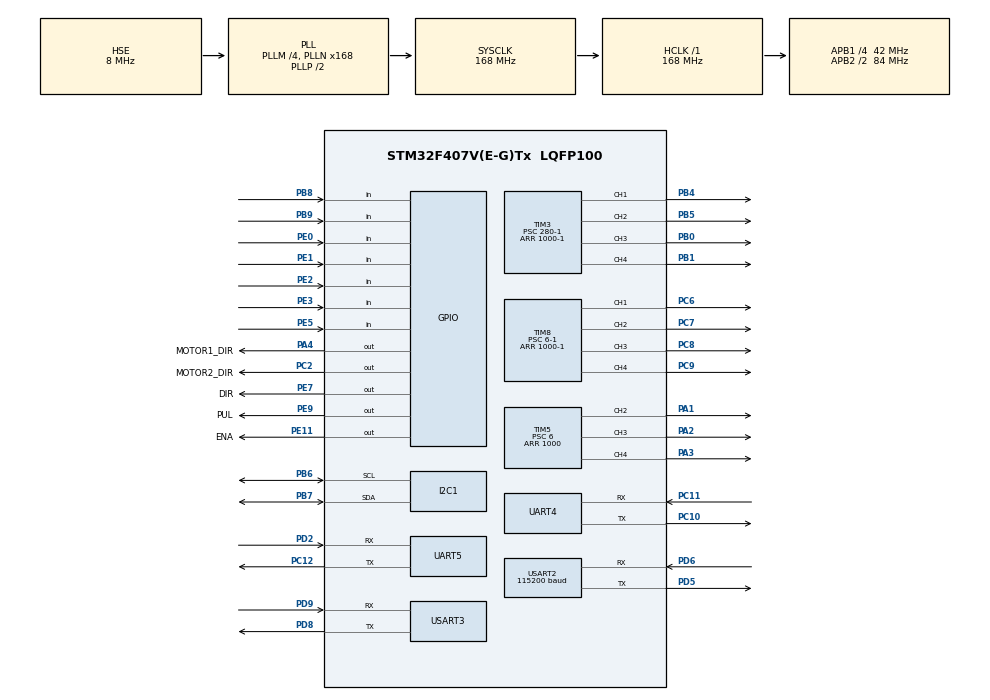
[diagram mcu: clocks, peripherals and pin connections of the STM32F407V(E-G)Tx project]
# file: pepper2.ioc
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Dma.Request0=UART4_RX
Dma.Request1=UART5_RX
Dma.Request2=USART3_RX
Dma.UART4_RX.0.Direction=DMA_PERIPH_TO_MEMORY
Dma.UART4_RX.0.FIFOMode=DMA_FIFOMODE_DISABLE
Dma.UART4_RX.0.Instance=DMA1_Stream2
Dma.UART4_RX.0.MemDataAlignment=DMA_MDATAALIGN_BYTE
Dma.UART4_RX.0.MemInc=DMA_MINC_ENABLE
Dma.UART4_RX.0.Mode=DMA_NORMAL
Dma.UART4_RX.0.PeriphDataAlignment=DMA_PDATAALIGN_BYTE
Dma.UART4_RX.0.PeriphInc=DMA_PINC_DISABLE
Dma.UART4_RX.0.Priority=DMA_PRIORITY_LOW
Dma.UART5_RX.1.Direction=DMA_PERIPH_TO_MEMORY
Dma.UART5_RX.1.FIFOMode=DMA_FIFOMODE_DISABLE
Dma.UART5_RX.1.Instance=DMA1_Stream0
Dma.UART5_RX.1.MemDataAlignment=DMA_MDATAALIGN_BYTE
Dma.UART5_RX.1.MemInc=DMA_MINC_ENABLE
Dma.UART5_RX.1.Mode=DMA_NORMAL
Dma.UART5_RX.1.PeriphDataAlignment=DMA_PDATAALIGN_BYTE
Dma.UART5_RX.1.PeriphInc=DMA_PINC_DISABLE
Dma.UART5_RX.1.Priority=DMA_PRIORITY_MEDIUM
Dma.USART3_RX.2.Direction=DMA_PERIPH_TO_MEMORY
Dma.USART3_RX.2.FIFOMode=DMA_FIFOMODE_DISABLE
Dma.USART3_RX.2.Instance=DMA1_Stream1
Dma.USART3_RX.2.MemDataAlignment=DMA_MDATAALIGN_BYTE
Dma.USART3_RX.2.MemInc=DMA_MINC_ENABLE
Dma.USART3_RX.2.Mode=DMA_NORMAL
Dma.USART3_RX.2.PeriphDataAlignment=DMA_PDATAALIGN_BYTE
Dma.USART3_RX.2.PeriphInc=DMA_PINC_DISABLE
Dma.USART3_RX.2.Priority=DMA_PRIORITY_MEDIUM
I2C1.I2C_Mode=I2C_Fast
Mcu.Family=STM32F4
Mcu.Name=STM32F407V(E-G)Tx
Mcu.Package=LQFP100
NVIC.DMA1_Stream0_IRQn=true\:0\:0\:false\:false\:true\:false\:true\:true
NVIC.DMA1_Stream1_IRQn=true\:0\:0\:false\:false\:true\:false\:true\:true
NVIC.DMA1_Stream2_IRQn=true\:0\:0\:false\:false\:true\:false\:true\:true
NVIC.PriorityGroup=NVIC_PRIORITYGROUP_4
NVIC.TIM7_IRQn=true\:0\:0\:false\:false\:true\:true\:true\:true
NVIC.UART4_IRQn=true\:0\:0\:false\:false\:true\:true\:true\:true
NVIC.UART5_IRQn=true\:0\:0\:false\:false\:true\:true\:true\:true
NVIC.USART2_IRQn=true\:0\:0\:false\:false\:true\:true\:true\:true
NVIC.USART3_IRQn=true\:0\:0\:false\:false\:true\:true\:true\:true
PA1.Signal=S_TIM5_CH2
PA13.Mode=Serial_Wire
PA13.Signal=SYS_JTMS-SWDIO
PA14.Mode=Serial_Wire
PA14.Signal=SYS_JTCK-SWCLK
PA2.Signal=S_TIM5_CH3
PA3.Signal=S_TIM5_CH4
PA4.GPIO_Label=MOTOR1_DIR
PA4.GPIO_ModeDefaultOutputPP=GPIO_MODE_OUTPUT_OD
PA4.GPIO_PuPd=GPIO_NOPULL
PA4.Signal=GPIO_Output
PB0.Signal=S_TIM3_CH3
PB1.Signal=S_TIM3_CH4
PB4.Signal=S_TIM3_CH1
PB5.Signal=S_TIM3_CH2
PB6.Mode=I2C
PB6.Signal=I2C1_SCL
PB7.Mode=I2C
PB7.Signal=I2C1_SDA
PB8.GPIO_PuPd=GPIO_PULLUP
PB8.Signal=GPIO_Input
PB9.GPIO_PuPd=GPIO_PULLUP
PB9.Signal=GPIO_Input
PC10.Mode=Asynchronous
PC10.Signal=UART4_TX
PC11.Mode=Asynchronous
PC11.Signal=UART4_RX
PC12.Mode=Asynchronous
PC12.Signal=UART5_TX
PC2.GPIO_Label=MOTOR2_DIR
PC2.GPIO_ModeDefaultOutputPP=GPIO_MODE_OUTPUT_OD
PC2.GPIO_PuPd=GPIO_NOPULL
PC2.Signal=GPIO_Output
PC6.Signal=S_TIM8_CH1
PC7.Signal=S_TIM8_CH2
PC8.Signal=S_TIM8_CH3
PC9.Signal=S_TIM8_CH4
PD2.Mode=Asynchronous
PD2.Signal=UART5_RX
PD5.Mode=Asynchronous
PD5.Signal=USART2_TX
PD6.Mode=Asynchronous
PD6.Signal=USART2_RX
PD8.Mode=Asynchronous
PD8.Signal=USART3_TX
PD9.Mode=Asynchronous
PD9.Signal=USART3_RX
PE0.GPIO_PuPd=GPIO_PULLUP
PE0.Signal=GPIO_Input
PE1.GPIO_PuPd=GPIO_PULLUP
PE1.Signal=GPIO_Input
PE11.GPIO_Label=ENA
PE11.PinState=GPIO_PIN_RESET
PE11.Signal=GPIO_Output
PE2.GPIO_PuPd=GPIO_PULLUP
PE2.Signal=GPIO_Input
PE3.GPIO_PuPd=GPIO_PULLUP
PE3.Signal=GPIO_Input
PE5.GPIO_PuPd=GPIO_PULLUP
PE5.Signal=GPIO_Input
PE7.GPIO_Label=DIR
PE7.Signal=GPIO_Output
PE9.GPIO_Label=PUL
PE9.Signal=GPIO_Output
PH0-OSC_IN.Mode=HSE-External-Oscillator
PH0-OSC_IN.Signal=RCC_OSC_IN
PH1-OSC_OUT.Mode=HSE-External-Oscillator
PH1-OSC_OUT.Signal=RCC_OSC_OUT
ProjectManager.HeapSize=0x200
ProjectManager.StackSize=0x400
ProjectManager.TargetToolchain=MDK-ARM V5.32
RCC.48MHZClocksFreq_Value=84000000
RCC.AHBFreq_Value=168000000
RCC.APB1CLKDivider=RCC_HCLK_DIV4
RCC.APB1Freq_Value=42000000
RCC.APB1TimFreq_Value=84000000
RCC.APB2CLKDivider=RCC_HCLK_DIV2
RCC.APB2Freq_Value=84000000
RCC.APB2TimFreq_Value=168000000
RCC.CortexFreq_Value=168000000
RCC.HCLKFreq_Value=168000000
RCC.HSE_VALUE=8000000
RCC.HSI_VALUE=16000000
RCC.LSE_VALUE=32768
RCC.PLLM=4
RCC.PLLN=168
RCC.PLLSourceVirtual=RCC_PLLSOURCE_HSE
RCC.SYSCLKFreq_VALUE=168000000
RCC.SYSCLKSource=RCC_SYSCLKSOURCE_PLLCLK
RCC.VCOOutputFreq_Value=336000000
SH.S_TIM3_CH1.0=TIM3_CH1,PWM Generation1 CH1
SH.S_TIM3_CH2.0=TIM3_CH2,PWM Generation2 CH2
SH.S_TIM3_CH3.0=TIM3_CH3,PWM Generation3 CH3
SH.S_TIM3_CH4.0=TIM3_CH4,PWM Generation4 CH4
SH.S_TIM5_CH2.0=TIM5_CH2,PWM Generation2 CH2
SH.S_TIM5_CH3.0=TIM5_CH3,PWM Generation3 CH3
SH.S_TIM5_CH4.0=TIM5_CH4,PWM Generation4 CH4
SH.S_TIM8_CH1.0=TIM8_CH1,PWM Generation1 CH1
SH.S_TIM8_CH2.0=TIM8_CH2,PWM Generation2 CH2
SH.S_TIM8_CH3.0=TIM8_CH3,PWM Generation3 CH3
SH.S_TIM8_CH4.0=TIM8_CH4,PWM Generation4 CH4
TIM3.Channel-PWM\ Generation1\ CH1=TIM_CHANNEL_1
TIM3.Channel-PWM\ Generation2\ CH2=TIM_CHANNEL_2
TIM3.Channel-PWM\ Generation3\ CH3=TIM_CHANNEL_3
TIM3.Channel-PWM\ Generation4\ CH4=TIM_CHANNEL_4
TIM3.Period=1000-1
TIM3.Prescaler=280-1
TIM5.Channel-PWM\ Generation2\ CH2=TIM_CHANNEL_2
TIM5.Channel-PWM\ Generation3\ CH3=TIM_CHANNEL_3
TIM5.Channel-PWM\ Generation4\ CH4=TIM_CHANNEL_4
TIM5.Period=1000
TIM5.Prescaler=6
TIM7.Period=2000-1
TIM7.Prescaler=840-1
TIM8.Channel-PWM\ Generation1\ CH1=TIM_CHANNEL_1
TIM8.Channel-PWM\ Generation2\ CH2=TIM_CHANNEL_2
TIM8.Channel-PWM\ Generation3\ CH3=TIM_CHANNEL_3
TIM8.Channel-PWM\ Generation4\ CH4=TIM_CHANNEL_4
TIM8.Period=1000-1
TIM8.Prescaler=6-1
UART4.VirtualMode=Asynchronous
UART5.VirtualMode=Asynchronous
USART2.BaudRate=115200
USART2.VirtualMode=VM_ASYNC
USART3.VirtualMode=VM_ASYNC
VP_TIM3_VS_ClockSourceINT.Mode=Internal
VP_TIM5_VS_ClockSourceINT.Mode=Internal
VP_TIM7_VS_ClockSourceINT.Mode=Enable_Timer
VP_TIM8_VS_ClockSourceINT.Mode=Internal
board=custom

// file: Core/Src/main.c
/* USER CODE BEGIN Header */
/**
  ******************************************************************************
  * @file           : main.c
  * @brief          : Main program body
  ******************************************************************************
  * @attention
  *
  * Copyright (c) 2024 STMicroelectronics.
  * All rights reserved.
  *
  * This software is licensed under terms that can be found in the LICENSE file
  * in the root directory of this software component.
  * If no LICENSE file comes with this software, it is provided AS-IS.
  *
  ******************************************************************************
  */
/* USER CODE END Header */
#include "main.h"
#include "dma.h"
#include "i2c.h"
#include "tim.h"
#include "usart.h"
#include "gpio.h"

/* USER CODE BEGIN Includes */
#include "usart.h"
#include "stdio.h"
#include "tofsense.h"
#include "oled.h"
#include "menu.h"
#include "font.h"
#include "motor.h"
#include "cameracom.h"
/* USER CODE END Includes */

/* USER CODE BEGIN PTD */
struct page p0, p1, p2, p3, p4, p5, p6, p7, p8, p9, p10, p11, p12, p13, p14;
float test1 = 0, test2 = 1, test3 = 2;
int16_t test4 = 3, test5 = 4, test6 = 5;

uint8_t wireless_test_in_flag=0;
uint8_t y_pid_test_flag=0;

void menu_init(void);
void menu_func_test(void);
void tof_test(void);
void pwm_test(void);
void spd_test(void);
void angle_confirm(void);
void wireless_test(void);
void strech_test(void);
void execute(void);
void y_pid_test(void);
/* USER CODE END PTD */

/* USER CODE BEGIN PD */
#define UART4_RECVBUFLEN 10 //数组长度上限
uint8_t Uart4RecvBuf[UART4_RECVBUFLEN]={0}; //DMA缓冲区数组
uint8_t Uart4RecvCnt = 0; //DMA实际接收长度（数据包或长或短，有个实际长度）
uint8_t Uart4RecvCompleteFlag = 0; //接收完毕标志位
uint8_t Uart4RecvData[UART4_RECVBUFLEN]={0}; //实际接收数据的数组（从Uart4RecvBuf也就是缓冲区数组中转移出来）
uint8_t Uart4RecvDataLen = 0; //实际接收数据的数组接收数据的长度，和Uart4RecvCnt相同的其实

extern void Uart4RecvInit(void);
extern void Uart4Recv_IdleCallback(void);
int Uart4Recv_DealData(uint8_t *recvData, uint8_t *len);

extern uint16_t tim7_counter;
extern uint8_t coordinate_recv_cnt;
extern uint16_t alighment_cnt;
extern uint8_t strech_length;
extern uint8_t strech_retry_time;
extern uint8_t strech_ok_time;
extern uint8_t strech_wait_flag;
extern uint8_t strech_goback_flag;
extern uint8_t shear_ok_time;
extern uint8_t atLeastOneCut_flag;
extern uint16_t clock_cnt;
extern uint16_t clock_wait_cnt;
extern uint8_t perform_flex_flag;
/* USER CODE END PD */

void SystemClock_Config(void);

int main(void)
{

  /* MCU Configuration--------------------------------------------------------*/

  /* Reset of all peripherals, Initializes the Flash interface and the Systick. */
  HAL_Init();

  /* Configure the system clock */
  SystemClock_Config();

  /* Initialize all configured peripherals */
  MX_GPIO_Init();
  MX_DMA_Init();
  MX_USART2_UART_Init();
  MX_I2C1_Init();
  MX_TIM7_Init();
  MX_TIM5_Init();
  MX_UART4_Init();
  MX_TIM3_Init();
  MX_TIM8_Init();
  MX_UART5_Init();
  MX_USART3_UART_Init();
  /* USER CODE BEGIN 2 */
  /**********初始化电机**********/
  HAL_TIM_PWM_Start(&htim5, TIM_CHANNEL_2);
  HAL_TIM_PWM_Start(&htim5, TIM_CHANNEL_3);
  HAL_TIM_PWM_Start(&htim5, TIM_CHANNEL_4);
  __HAL_TIM_SET_COMPARE(&htim5, TIM_CHANNEL_2, 0);
  __HAL_TIM_SET_COMPARE(&htim5, TIM_CHANNEL_3, 0);
  __HAL_TIM_SET_COMPARE(&htim5, TIM_CHANNEL_4, 0);
  /**********初始化电机**********/

  /**********系统启动**********/
  //初始化OLED
  oled_init();
  oled_clear();
  //printf("SystemWakeUp!\n");
  global_state=NORMAL_STATE; //初始化状态机
  HAL_UART_Transmit(&huart4, (uint8_t *)"SystemWakeUp!\n", 18,1000);
  Uart4RecvInit();
  oled_show_string(0,0,(const uint8_t *)"SystemWakeUp!");
  /**********初始化无线**********/
  HAL_UART_Transmit(&huart5, (uint8_t *)"WirelessOK!\n", 12, 1000);
  Uart5RecvInit();
  oled_show_string(0,1,(const uint8_t *)"WirelessOK!");
  /**********初始化无线**********/

  /**********初始化摄像头串口**********/
  Uart3RecvInit();
  oled_show_string(0,2,(const uint8_t *)"Openmv(Uart3)OK!");
  /**********初始化摄像头串口**********/

  /**********初始化舵机**********/
  height_data_init();
  spd_pid_init();
  HAL_TIM_PWM_Start(&htim3, TIM_CHANNEL_1);
  HAL_TIM_PWM_Start(&htim3, TIM_CHANNEL_2);
  HAL_TIM_PWM_Start(&htim3, TIM_CHANNEL_3);
  HAL_TIM_PWM_Start(&htim3, TIM_CHANNEL_4);
  HAL_TIM_PWM_Start(&htim8, TIM_CHANNEL_1);
  HAL_TIM_PWM_Start(&htim8, TIM_CHANNEL_2);
  HAL_TIM_PWM_Start(&htim8, TIM_CHANNEL_3);
  HAL_TIM_PWM_Start(&htim8, TIM_CHANNEL_4);
  __HAL_TIM_SET_COMPARE(&htim3, TIM_CHANNEL_1, servo_angle3);
  __HAL_TIM_SET_COMPARE(&htim3, TIM_CHANNEL_2, servo_angle4);
  __HAL_TIM_SET_COMPARE(&htim3, TIM_CHANNEL_3, servo_angle1);
  __HAL_TIM_SET_COMPARE(&htim3, TIM_CHANNEL_4, servo_angle2);
  // __HAL_TIM_SET_COMPARE(&htim8, TIM_CHANNEL_1, servo_angle7);
  // __HAL_TIM_SET_COMPARE(&htim8, TIM_CHANNEL_2, servo_angle8);
  // __HAL_TIM_SET_COMPARE(&htim8, TIM_CHANNEL_3, servo_angle5);
  // __HAL_TIM_SET_COMPARE(&htim8, TIM_CHANNEL_4, servo_angle6);
  __HAL_TIM_SET_COMPARE(&htim8, TIM_CHANNEL_1, 0);
  __HAL_TIM_SET_COMPARE(&htim8, TIM_CHANNEL_2, 0);
  __HAL_TIM_SET_COMPARE(&htim8, TIM_CHANNEL_3, 0);
  __HAL_TIM_SET_COMPARE(&htim8, TIM_CHANNEL_4, 0);
  oled_show_string(0,3,(const uint8_t *)"All Servos Ready!");
  start_recv_coorData(1);
  oled_show_string(0,4,(const uint8_t *)"Send action Data!");
  oled_show_string(0,5,(const uint8_t *)"Testing Grab Servo!");
  grab_servo_control(1);
  HAL_Delay(1000);
  grab_servo_control(0);
  HAL_Delay(1000);
  grab_servo_control(1);
  /**********初始化舵机**********/

  /**********初始化TOF**********/
  tof_init();
  oled_show_string(0,6,(const uint8_t *)"TOF OK!");
  HAL_Delay(300);
  /**********初始化TOF**********/

  /**********初始化菜单**********/
  oled_clear();
  menu_init();
  /**********初始化菜单**********/

  /* USER CODE END 2 */

  /* Infinite loop */
  while (1)
  {

    /* USER CODE BEGIN 3 */

    if(Uart4Recv_DealData(Uart4RecvData,&Uart4RecvDataLen)==0){
      //真正处理数据的区域
    //   Uart4RecvData[Uart4RecvDataLen]='\0';
    //   printf("%s\r\n",Uart4RecvData);
    }

		MenuCmd(key_scan());
    if (navigate[cntpage]->dymantic_page)
    {
      MenuRender(0);
      HAL_Delay(100);
    }
    HAL_Delay(5);
  }
  /* USER CODE END 3 */
}

void SystemClock_Config(void)
{
  RCC_OscInitTypeDef RCC_OscInitStruct = {0};
  RCC_ClkInitTypeDef RCC_ClkInitStruct = {0};

  /** Configure the main internal regulator output voltage
  */
  __HAL_RCC_PWR_CLK_ENABLE();
  __HAL_PWR_VOLTAGESCALING_CONFIG(PWR_REGULATOR_VOLTAGE_SCALE1);

  /** Initializes the RCC Oscillators according to the specified parameters
  * in the RCC_OscInitTypeDef structure.
  */
  RCC_OscInitStruct.OscillatorType = RCC_OSCILLATORTYPE_HSE;
  RCC_OscInitStruct.HSEState = RCC_HSE_ON;
  RCC_OscInitStruct.PLL.PLLState = RCC_PLL_ON;
  RCC_OscInitStruct.PLL.PLLSource = RCC_PLLSOURCE_HSE;
  RCC_OscInitStruct.PLL.PLLM = 4;
  RCC_OscInitStruct.PLL.PLLN = 168;
  RCC_OscInitStruct.PLL.PLLP = RCC_PLLP_DIV2;
  RCC_OscInitStruct.PLL.PLLQ = 4;
  if (HAL_RCC_OscConfig(&RCC_OscInitStruct) != HAL_OK)
  {
    Error_Handler();
  }

  /** Initializes the CPU, AHB and APB buses clocks
  */
  RCC_ClkInitStruct.ClockType = RCC_CLOCKTYPE_HCLK|RCC_CLOCKTYPE_SYSCLK
                              |RCC_CLOCKTYPE_PCLK1|RCC_CLOCKTYPE_PCLK2;
  RCC_ClkInitStruct.SYSCLKSource = RCC_SYSCLKSOURCE_PLLCLK;
  RCC_ClkInitStruct.AHBCLKDivider = RCC_SYSCLK_DIV1;
  RCC_ClkInitStruct.APB1CLKDivider = RCC_HCLK_DIV4;
  RCC_ClkInitStruct.APB2CLKDivider = RCC_HCLK_DIV2;

  if (HAL_RCC_ClockConfig(&RCC_ClkInitStruct, FLASH_LATENCY_5) != HAL_OK)
  {
    Error_Handler();
  }
}

/* USER CODE BEGIN 4 */
void execute(void)
{
  oled_clear();
  oled_show_string(0, 0, "execute()");
  char tmp_str[25]={0};
  tim7_counter=0;

  global_state=STROLL_STATE;
  //global_state=SPREAD_STATE;
  HAL_TIM_Base_Start_IT(&htim7);
  start_recv_coorData(1);

  while (1)
  {
    oled_clear();
    if(global_state==STROLL_STATE){
      oled_show_string(0, 0, "state: STROLL_STATE");

      sprintf(tmp_str,"stroll_dir:%d",stroll_dir);
      oled_show_string(0, 1, tmp_str);

      sprintf(tmp_str,"co_recv_cnt:%d",coordinate_recv_cnt);
      oled_show_string(0, 2, tmp_str);

    }else if(global_state==LOCATE_STATE){
      oled_show_string(0, 0, "state: LOCATE_STATE");

      sprintf(tmp_str,"H_a:%.2f",H_a);
      oled_show_string(0, 1, tmp_str);

      sprintf(tmp_str,"y:%d",y_pepper);
      oled_show_string(0, 2, tmp_str);

      sprintf(tmp_str,"whlx_pwm:%d",pwm1);
      oled_show_string(0, 3, tmp_str);

      sprintf(tmp_str,"err_y:%d",whly.now_error);
      oled_show_string(0, 4, tmp_str);

      sprintf(tmp_str,"alighment_cnt:%d",alighment_cnt);
      oled_show_string(0, 5, tmp_str);

      sprintf(tmp_str,"alighment_cnt_h:%d",h_aligntment_cnt);
      oled_show_string(0, 6, tmp_str);

      sprintf(tmp_str,"simu_tarh:%d",simu_tarh);
      oled_show_string(0, 7, tmp_str);
    }else if(global_state==SPREAD_STATE){
#ifdef PERFORMANCE_MODE
      oled_show_string(0, 0, "state: SPREAD_STATE");

      sprintf(tmp_str,"cur_pulcnt:%d",cur_motor_pul_cnt);
      oled_show_string(0, 1, tmp_str);
#else
      oled_show_string(0, 0, "state: SPREAD_STATE");

      sprintf(tmp_str,"cur_pulcnt:%d",cur_motor_pul_cnt);
      oled_show_string(0, 1, tmp_str);

      sprintf(tmp_str,"retry_time:%d",strech_retry_time);
      oled_show_string(0, 2, tmp_str);

      sprintf(tmp_str,"ok_time:%d",strech_ok_time);
      oled_show_string(0, 3, tmp_str);

      sprintf(tmp_str,"wait_flag:%d",strech_wait_flag);
      oled_show_string(0, 4, tmp_str);

      sprintf(tmp_str,"goback_flag:%d",strech_goback_flag);
      oled_show_string(0, 5, tmp_str);

      sprintf(tmp_str,"tim7_counter:%d",tim7_counter);
      oled_show_string(0, 6, tmp_str);

      sprintf(tmp_str,"tar_pulcnt:%d",tar_motor_pul_cnt);
      oled_show_string(0, 7, tmp_str);
#endif
    }else if(global_state==SHEAR_STATE){
      oled_show_string(0, 0, "state: SHEAR_STATE");

      sprintf(tmp_str,"shear_ok_time:%d",shear_ok_time);
      oled_show_string(0, 1, tmp_str);

      sprintf(tmp_str,"tim7_counter:%d",tim7_counter);
      oled_show_string(0, 2, tmp_str);

      sprintf(tmp_str,"co_recv_cnt:%d",coordinate_recv_cnt);
      oled_show_string(0, 3, tmp_str);
    }else if(global_state==SHRINK_STATE){
      oled_show_string(0, 0, "state: SHRINK_STATE");

      // sprintf(tmp_str,"shear_ok_time:%d",shear_ok_time);
      // oled_show_string(0, 1, tmp_str);
      sprintf(tmp_str,"co_recv_cnt:%d",coordinate_recv_cnt);
      oled_show_string(0, 1, tmp_str);

      sprintf(tmp_str,"tim7_counter:%d",tim7_counter);
      oled_show_string(0, 2, tmp_str);
    }

    if (HAL_GPIO_ReadPin(GPIOE, GPIO_PIN_3) == GPIO_PIN_RESET)
    {
      //设备上移
      set_motor_pwm(2,800);
      oled_show_string(0, 2, "motor dwn");
    }else if (HAL_GPIO_ReadPin(GPIOB, GPIO_PIN_8) == GPIO_PIN_RESET)
    {
      //设备下移
      set_motor_pwm(2,-800);
      oled_show_string(0, 2, "motor upn");
    }else if (HAL_GPIO_ReadPin(GPIOE, GPIO_PIN_1) == GPIO_PIN_RESET)
    {
      //设备左移
      set_motor_pwm(1,-700);
      oled_show_string(0, 2, "motor lef");
    }else if (HAL_GPIO_ReadPin(GPIOB, GPIO_PIN_9) == GPIO_PIN_RESET)
    {
      //设备右移
      set_motor_pwm(1,700);
      oled_show_string(0, 2, "motor rgh");
    }else{
      set_motor_pwm(1,0);
      set_motor_pwm(2,0);
      //oled_show_string(0, 2, "motor none");
    }

    if (HAL_GPIO_ReadPin(GPIOE, GPIO_PIN_0) == GPIO_PIN_RESET)
    {
      HAL_Delay(KEY_DelayTime);
      if (HAL_GPIO_ReadPin(GPIOE, GPIO_PIN_0) == GPIO_PIN_RESET){
        tim7_counter=0;
        cut_servo_control(0);
        atLeastOneCut_flag=0;
        global_state=SHRINK_STATE;
      }
    }

    HAL_Delay(10);
    if (HAL_GPIO_ReadPin(GPIOE, GPIO_PIN_5) == GPIO_PIN_RESET)
    {
      HAL_Delay(KEY_DelayTime);
      if (HAL_GPIO_ReadPin(GPIOE, GPIO_PIN_5) == GPIO_PIN_RESET)
      {
        HAL_TIM_Base_Stop_IT(&htim7);
        //停止所有电机，复位所有舵机
        set_motor_pwm(1,0);
        set_motor_pwm(2,0);
        __HAL_TIM_SET_COMPARE(&htim3, TIM_CHANNEL_1, servo_angle3);
        __HAL_TIM_SET_COMPARE(&htim3, TIM_CHANNEL_2, servo_angle4);
        __HAL_TIM_SET_COMPARE(&htim3, TIM_CHANNEL_3, servo_angle1);
        __HAL_TIM_SET_COMPARE(&htim3, TIM_CHANNEL_4, servo_angle2);
        __HAL_TIM_SET_COMPARE(&htim8, TIM_CHANNEL_1, servo_angle7);
        __HAL_TIM_SET_COMPARE(&htim8, TIM_CHANNEL_2, servo_angle8);
        __HAL_TIM_SET_COMPARE(&htim8, TIM_CHANNEL_3, servo_angle5);
        __HAL_TIM_SET_COMPARE(&htim8, TIM_CHANNEL_4, servo_angle6);
        MenuRender(1);
        return;
      }
    }
  }
}

void perform(void)
{
  oled_clear();
  oled_show_string(0, 0, "perform()");
  char tmp_str[25]={0};
  tim7_counter=0;

  global_state=NORMAL_STATE;
  tlx_state=RIGHT_MOVE_STATE;
  HAL_TIM_Base_Start_IT(&htim7);

  uint8_t perform_length=10;
  int8_t dir=1;

  __HAL_TIM_SET_COMPARE(&htim8, TIM_CHANNEL_1, 200);
  __HAL_TIM_SET_COMPARE(&htim8, TIM_CHANNEL_2, 200);
  __HAL_TIM_SET_COMPARE(&htim8, TIM_CHANNEL_3, 200);
  __HAL_TIM_SET_COMPARE(&htim8, TIM_CHANNEL_4, 200);

  while (1)
  {
    oled_show_uint(0,2,tlx_state,5);
    oled_show_uint(0,3,clock_cnt,5);
    oled_show_uint(0,4,clock_wait_cnt,5);

    if(perform_flex_flag==1){
      if(perform_length>80){
        dir=-1;
      }else if(perform_length<10){
        dir=1;
      }
      perform_length+=dir;
      flexible_servo_control(perform_length);
    }

    HAL_Delay(10);
    if (HAL_GPIO_ReadPin(GPIOE, GPIO_PIN_5) == GPIO_PIN_RESET)
    {
      HAL_Delay(KEY_DelayTime);
      if (HAL_GPIO_ReadPin(GPIOE, GPIO_PIN_5) == GPIO_PIN_RESET)
      {
        HAL_TIM_Base_Stop_IT(&htim7);
        //停止所有电机，复位所有舵机
        tlx_state=STOP_MOVE_STATE;
        set_motor_pwm(1,0);
        set_motor_pwm(2,0);
        __HAL_TIM_SET_COMPARE(&htim3, TIM_CHANNEL_1, servo_angle3);
        __HAL_TIM_SET_COMPARE(&htim3, TIM_CHANNEL_2, servo_angle4);
        __HAL_TIM_SET_COMPARE(&htim3, TIM_CHANNEL_3, servo_angle1);
        __HAL_TIM_SET_COMPARE(&htim3, TIM_CHANNEL_4, servo_angle2);
        __HAL_TIM_SET_COMPARE(&htim8, TIM_CHANNEL_1, servo_angle7);
        __HAL_TIM_SET_COMPARE(&htim8, TIM_CHANNEL_2, servo_angle8);
        __HAL_TIM_SET_COMPARE(&htim8, TIM_CHANNEL_3, servo_angle5);
        __HAL_TIM_SET_COMPARE(&htim8, TIM_CHANNEL_4, servo_angle6);
        MenuRender(1);
        return;
      }
    }
  }
}

void step_motor_test(){
  oled_clear();
  oled_show_string(0, 0, "step_motor_test()");
  uint8_t test_length=5;
  char tmp_str[25]={0};

  HAL_GPIO_WritePin(ENA_GPIO_Port,ENA_Pin, GPIO_PIN_SET);
  //HAL_GPIO_WritePin(DIR_GPIO_Port,DIR_Pin, GPIO_PIN_SET);

  while(1){
    flexible_servo_control(test_length);
    sprintf(tmp_str,"tst_len:%d",test_length);
    oled_show_string(0, 1, tmp_str);
    sprintf(tmp_str,"cur_pulcnt:%d",cur_motor_pul_cnt);
    oled_show_string(0, 2, tmp_str);
    sprintf(tmp_str,"tar_pulcnt:%d",tar_motor_pul_cnt);
    oled_show_string(0, 3, tmp_str);
    // HAL_GPIO_WritePin(PUL_GPIO_Port,PUL_Pin, GPIO_PIN_SET);
    // //HAL_Delay(1);
    // delay_us(250);
    // HAL_GPIO_WritePin(PUL_GPIO_Port,PUL_Pin, GPIO_PIN_RESET);
    // //HAL_Delay(1);
    // delay_us(250);

    if (HAL_GPIO_ReadPin(GPIOE, GPIO_PIN_5) == GPIO_PIN_RESET)
    {
      HAL_Delay(KEY_DelayTime);
      if (HAL_GPIO_ReadPin(GPIOE, GPIO_PIN_5) == GPIO_PIN_RESET)
      {
        HAL_GPIO_WritePin(ENA_GPIO_Port,ENA_Pin, GPIO_PIN_RESET);
        MenuRender(1);
        return;
      }
    }
    if (HAL_GPIO_ReadPin(GPIOE, GPIO_PIN_3) == GPIO_PIN_RESET)
    {
      HAL_Delay(KEY_DelayTime);
      if (HAL_GPIO_ReadPin(GPIOE, GPIO_PIN_3) == GPIO_PIN_RESET)
      {
        test_length=200;
      }
    }
    if (HAL_GPIO_ReadPin(GPIOB, GPIO_PIN_8) == GPIO_PIN_RESET)
    {
      HAL_Delay(KEY_DelayTime);
      if (HAL_GPIO_ReadPin(GPIOB, GPIO_PIN_8) == GPIO_PIN_RESET)
      {
        test_length=100;
      }
    }
  }

}

void wireless_test(void)
{
  oled_clear();
  oled_show_string(0, 0, "wireless_test()");

  char tmp_str[25]={0};
  static uint8_t isRecvPosition=0;
  wireless_test_in_flag=1;
  HAL_TIM_Base_Start_IT(&htim7);
  while (1)
  {
    sprintf(tmp_str,"x:%d",x_pepper);
    oled_show_string(0, 1, tmp_str);

    sprintf(tmp_str,"y:%d",y_pepper);
    oled_show_string(0, 2, tmp_str);

    sprintf(tmp_str,"whlx_pwm:%d",pwm1);
    oled_show_string(0, 3, tmp_str);

    sprintf(tmp_str,"isnopepper:%d",no_pepper_flag);
    oled_show_string(0, 4, tmp_str);

    HAL_Delay(10);

    if (HAL_GPIO_ReadPin(GPIOE, GPIO_PIN_0) == GPIO_PIN_RESET)
    {
      HAL_Delay(KEY_DelayTime);
      if(HAL_GPIO_ReadPin(GPIOE, GPIO_PIN_0) == GPIO_PIN_RESET){
        //设备右移
        // set_motor_pwm(1,400);
        if(isRecvPosition==0){
          //发送关闭的信息
          start_recv_coorData(isRecvPosition);
          oled_show_string(0, 2, "sendoff");
          isRecvPosition=1;
        }else if(isRecvPosition==1){
          //发送开启的信息
          start_recv_coorData(isRecvPosition);
          oled_show_string(0, 2, "send on");
          isRecvPosition=0;
        }
      }
    }

    if (HAL_GPIO_ReadPin(GPIOE, GPIO_PIN_5) == GPIO_PIN_RESET)
    {
      HAL_Delay(KEY_DelayTime);
      if (HAL_GPIO_ReadPin(GPIOE, GPIO_PIN_5) == GPIO_PIN_RESET)
      {
        MenuRender(1);
        wireless_test_in_flag=0;
        HAL_TIM_Base_Stop_IT(&htim7);
        return;
      }
    }
  }
}

void strech_test(void)
{
  oled_clear();
  oled_show_string(0, 0, "strech_test()");

  static uint8_t cutting_state=0;
  static uint8_t grab_state=0;
  static uint8_t busket_state=0;
  static uint32_t strech_length_tmp=5;
  char tmp_str[25]={0};
  HAL_GPIO_WritePin(ENA_GPIO_Port,ENA_Pin, GPIO_PIN_SET);
  HAL_TIM_Base_Start_IT(&htim7);
  while (1)
  {
    sprintf(tmp_str,"op_x:%d",openmv_pepper_x);
    oled_show_string(0, 1, tmp_str);

    sprintf(tmp_str,"op_y:%d",openmv_pepper_y);
    oled_show_string(0, 2, tmp_str);

    sprintf(tmp_str,"op_dis:%d",openmv_pepper_dis);
    oled_show_string(0, 3, tmp_str);

    sprintf(tmp_str,"len_tmp:%d",strech_length_tmp);
    oled_show_string(0, 4, tmp_str);

    sprintf(tmp_str,"cur_pulcnt:%d",cur_motor_pul_cnt);
    oled_show_string(0, 5, tmp_str);

    sprintf(tmp_str,"cutting_state:%d",cutting_state);
    oled_show_string(0, 6, tmp_str);

    // if(check_pepper()==1){
    //   oled_show_string(0,6,"ok!!!");
    // }else{
    //   oled_show_string(0,6,"no!!!");
    // }

    flexible_servo_control(strech_length_tmp);

    if (HAL_GPIO_ReadPin(GPIOE, GPIO_PIN_3) == GPIO_PIN_RESET)
    {
      HAL_Delay(KEY_DelayTime);
      if (HAL_GPIO_ReadPin(GPIOE, GPIO_PIN_3) == GPIO_PIN_RESET){
        //爪子前移
        //用来测试开环前移长度
        strech_length_tmp=pmode_length;
        //flexible_servo_control(140);
        oled_show_string(0, 2, "gone");
      }
    }else if (HAL_GPIO_ReadPin(GPIOB, GPIO_PIN_8) == GPIO_PIN_RESET)
    {
      HAL_Delay(KEY_DelayTime);
      if (HAL_GPIO_ReadPin(GPIOB, GPIO_PIN_8) == GPIO_PIN_RESET){
        //爪子后移
        strech_length_tmp=5;
        //flexible_servo_control(0);
        oled_show_string(0, 2, "back");
      }

    }else if (HAL_GPIO_ReadPin(GPIOE, GPIO_PIN_1) == GPIO_PIN_RESET)
    {
      HAL_Delay(KEY_DelayTime);
      if (HAL_GPIO_ReadPin(GPIOE, GPIO_PIN_1) == GPIO_PIN_RESET){
        //设备夹子抓取
        grab_servo_control(grab_state);
        grab_state=!grab_state;
        // set_motor_pwm(1,-400);
        // oled_show_string(0, 2, "motor lef");
      }
    }else if (HAL_GPIO_ReadPin(GPIOB, GPIO_PIN_9) == GPIO_PIN_RESET)
    {
      HAL_Delay(KEY_DelayTime);
      if (HAL_GPIO_ReadPin(GPIOB, GPIO_PIN_9) == GPIO_PIN_RESET){
        //设备左移
        busket_servo_control(busket_state);
        busket_state=!busket_state;
        //oled_show_string(0, 2, "aaaaaaaaaaaaaaaaa");
        //oled_show_int(100,2,busket_state,2);
      }

    }else if (HAL_GPIO_ReadPin(GPIOE, GPIO_PIN_0) == GPIO_PIN_RESET)
    {
      HAL_Delay(KEY_DelayTime);
      if (HAL_GPIO_ReadPin(GPIOE, GPIO_PIN_0) == GPIO_PIN_RESET){
        cut_servo_control(cutting_state);
        cutting_state=!cutting_state;
        //设备右移
        // set_motor_pwm(1,400);
        //oled_show_string(0, 2, "cutt");
      }
    }

    if (HAL_GPIO_ReadPin(GPIOE, GPIO_PIN_5) == GPIO_PIN_RESET)
    {
      HAL_Delay(KEY_DelayTime);
      if (HAL_GPIO_ReadPin(GPIOE, GPIO_PIN_5) == GPIO_PIN_RESET)
      {
        HAL_TIM_Base_Stop_IT(&htim7);
        MenuRender(1);
        return;
      }
    }
  }
}

void angle_confirm(void)
{
  oled_clear();
  oled_show_string(0, 0, "angle_confirm()");

  set_servo_angle(1,servo_angle1);
  set_servo_angle(2,servo_angle2);
  set_servo_angle(3,servo_angle3);
  set_servo_angle(4,servo_angle4);
  set_servo_angle(5,servo_angle5);
  set_servo_angle(6,servo_angle6);
  set_servo_angle(7,servo_angle7);
  set_servo_angle(8,servo_angle8);

  oled_show_string(0, 1, "ok!");

  while (1)
  {
    oled_show_int(0,1,spd1,4);
    oled_show_int(0,2,spd2,4);
    HAL_Delay(10);
    if (HAL_GPIO_ReadPin(GPIOE, GPIO_PIN_5) == GPIO_PIN_RESET)
    {
      HAL_Delay(KEY_DelayTime);
      if (HAL_GPIO_ReadPin(GPIOE, GPIO_PIN_5) == GPIO_PIN_RESET)
      {
        MenuRender(1);
        return;
      }
    }
  }
}

void y_pid_test(void)
{
  oled_clear();
  oled_show_string(0, 0, "y_pid_test()");
  HAL_TIM_Base_Start_IT(&htim7);

  char tmp_str[25]={0};
  while (1)
  {
		y_pid_test_flag=1;
    sprintf(tmp_str,"tof_distance:%0.2f",tof_distance);
    oled_show_string(0, 1, tmp_str);
    sprintf(tmp_str,"pwm:%d",whly.pwm_out);
    oled_show_string(0, 2, tmp_str);
    sprintf(tmp_str,"flag:%d",y_pid_test_flag);
    oled_show_string(0, 3, tmp_str);
    sprintf(tmp_str,"nerr:%d",whly.now_error);
    oled_show_string(0, 4, tmp_str);
    sprintf(tmp_str,"tar:%d",whly.set_targetS);
    oled_show_string(0, 5, tmp_str);
    sprintf(tmp_str,"kp:%d",whly.PS);
    oled_show_string(0, 6, tmp_str);

    HAL_Delay(10);
    if (HAL_GPIO_ReadPin(GPIOE, GPIO_PIN_5) == GPIO_PIN_RESET)
    {
      HAL_Delay(KEY_DelayTime);
      if (HAL_GPIO_ReadPin(GPIOE, GPIO_PIN_5) == GPIO_PIN_RESET)
      {
        HAL_TIM_Base_Stop_IT(&htim7);
        y_pid_test_flag=0;
        MenuRender(1);
        return;
      }
    }
  }
}

void spd_test(void)
{
  oled_clear();
  oled_show_string(0, 0, "spd_test()");

  HAL_TIM_Base_Start_IT(&htim7);
  //大于零往左走
  set_motor_pwm(1,-600);
  set_motor_pwm(2,-900);

  while (1)
  {
    oled_show_int(0,1,spd1,4);
    oled_show_int(0,2,spd2,4);
    HAL_Delay(10);
    if (HAL_GPIO_ReadPin(GPIOE, GPIO_PIN_5) == GPIO_PIN_RESET)
    {
      HAL_Delay(KEY_DelayTime);
      if (HAL_GPIO_ReadPin(GPIOE, GPIO_PIN_5) == GPIO_PIN_RESET)
      {
        HAL_TIM_Base_Stop_IT(&htim7);
        set_motor_pwm(1,0);
        set_motor_pwm(2,0);
        MenuRender(1);
        return;
      }
    }
  }
}

void pwm_test(void)
{
  oled_clear();
  oled_show_string(0, 0, "pwm_test()");

  while (1)
  {
    static uint16_t test_pwm_cnt=100;
    test_pwm_cnt++;
    if(test_pwm_cnt>=900) test_pwm_cnt=100;

  __HAL_TIM_SET_COMPARE(&htim3, TIM_CHANNEL_1, test_pwm_cnt);
  __HAL_TIM_SET_COMPARE(&htim3, TIM_CHANNEL_2, test_pwm_cnt);
  __HAL_TIM_SET_COMPARE(&htim3, TIM_CHANNEL_3, test_pwm_cnt);
  __HAL_TIM_SET_COMPARE(&htim3, TIM_CHANNEL_4, test_pwm_cnt);
  __HAL_TIM_SET_COMPARE(&htim8, TIM_CHANNEL_1, test_pwm_cnt);
  __HAL_TIM_SET_COMPARE(&htim8, TIM_CHANNEL_2, test_pwm_cnt);
  __HAL_TIM_SET_COMPARE(&htim8, TIM_CHANNEL_3, test_pwm_cnt);
  __HAL_TIM_SET_COMPARE(&htim8, TIM_CHANNEL_4, test_pwm_cnt);

    HAL_Delay(10);
    if (HAL_GPIO_ReadPin(GPIOE, GPIO_PIN_5) == GPIO_PIN_RESET)
    {
      HAL_Delay(KEY_DelayTime);
      if (HAL_GPIO_ReadPin(GPIOE, GPIO_PIN_5) == GPIO_PIN_RESET)
      {
        set_motor_pwm(1,0);
        set_motor_pwm(2,0);
        MenuRender(1);
        return;
      }
    }
  }
}

void tof_test(void)
{
  oled_clear();
  oled_show_string(0, 0, "tof_test()");

  char tmp_str[25]={0};
  while (1)
  {
    sprintf(tmp_str,"tof_distance:%0.2f",tof_distance);
    oled_show_string(0, 1, tmp_str);
    HAL_Delay(10);
    if (HAL_GPIO_ReadPin(GPIOE, GPIO_PIN_5) == GPIO_PIN_RESET)
    {
      HAL_Delay(KEY_DelayTime);
      if (HAL_GPIO_ReadPin(GPIOE, GPIO_PIN_5) == GPIO_PIN_RESET)
      {
          MenuRender(1);
          return;
      }
    }

    if (HAL_GPIO_ReadPin(GPIOE, GPIO_PIN_3) == GPIO_PIN_RESET)
    {
      //设备上移
      set_motor_pwm(2,800);
      oled_show_string(0, 2, "motor dwn");
    }else if (HAL_GPIO_ReadPin(GPIOB, GPIO_PIN_8) == GPIO_PIN_RESET)
    {
      //设备下移
      set_motor_pwm(2,-800);
      oled_show_string(0, 2, "motor upn");
    }else if (HAL_GPIO_ReadPin(GPIOE, GPIO_PIN_1) == GPIO_PIN_RESET)
    {
      //设备左移
      set_motor_pwm(1,-700);
      oled_show_string(0, 2, "motor lef");
    }else if (HAL_GPIO_ReadPin(GPIOB, GPIO_PIN_9) == GPIO_PIN_RESET)
    {
      //设备右移
      set_motor_pwm(1,700);
      oled_show_string(0, 2, "motor rgh");
    }else{
      set_motor_pwm(1,0);
      set_motor_pwm(2,0);
      //oled_show_string(0, 2, "motor none");
    }
  }
}

void menu_func_test(void)
{
  oled_clear();
  oled_show_string(0, 0, "menu_func_test()");

  oled_show_string(0, 1, "hello world!");
  oled_show_int(0, 2, 123, 3);
  oled_show_uint(0, 3, 456, 3);
  oled_show_float(0, 4, 3.14, 3, 3);

  while (1)
  {

    if (HAL_GPIO_ReadPin(GPIOE, GPIO_PIN_5) == GPIO_PIN_RESET)
    {
      HAL_Delay(KEY_DelayTime);
      if (HAL_GPIO_ReadPin(GPIOE, GPIO_PIN_5) == GPIO_PIN_RESET)
      {
          MenuRender(1);
          return;
      }
    }
  }
}

void servo_rotate_test(){
  oled_clear();
  oled_show_string(0, 0, "servo_rotate_test()");

  static uint16_t servo_rotate_cnt=100;
  while (1)
  {
    servo_rotate_cnt++;
    if(servo_rotate_cnt>=900) servo_rotate_cnt=100;
    set_servo_angle(3,servo_rotate_cnt);
    oled_show_int(0,1,servo_rotate_cnt,4);
    HAL_Delay(10);

    if (HAL_GPIO_ReadPin(GPIOE, GPIO_PIN_5) == GPIO_PIN_RESET)
    {
      HAL_Delay(KEY_DelayTime);
      if (HAL_GPIO_ReadPin(GPIOE, GPIO_PIN_5) == GPIO_PIN_RESET)
      {
          MenuRender(1);
          return;
      }
    }
  }
}

void menu_init(void){
  add_subpage(&p0, "function", &p1);
  add_subpage(&p0, "pid", &p2);
  add_subpage(&p0, "servo", &p3);

  add_func(&p1, "<perform>",perform);
  add_func(&p1, "<execute>", execute);
  add_func(&p1, "<wireless_test>", wireless_test);
  add_func(&p1, "<angle_confirm>", angle_confirm);
  add_func(&p1, "<strech_test>", strech_test);
  add_func(&p1, "<step_motor_test>", step_motor_test);
  add_func(&p1, "<tof_test>", tof_test);
  add_func(&p1, "<s_rotate_test>", servo_rotate_test);
  add_func(&p1, "<pwm_test>", pwm_test);
  add_func(&p1, "<spd_test>", spd_test);
  add_func(&p1, "<y_pid_test>", y_pid_test);
  add_func(&p1, "<menu_func_test>", menu_func_test);

  add_value(&p2, "[stroll_time]", (int *)&stroll_time, 10, NULL);
  add_value(&p2, "[pmode_length]", (int *)&pmode_length, 5, NULL);
  add_value(&p2, "[stroll_dir]", (int *)&stroll_dir, 1, NULL);
  add_value(&p2, "[test4]", (int *)&test4, 1, NULL);

  add_value(&p3, "[s_ang1]", (int *)&servo_angle1, 20, NULL);
  add_value(&p3, "[s_ang2]", (int *)&servo_angle2, 20, NULL);
  add_value(&p3, "[s_ang3]", (int *)&servo_angle3, 20, NULL);
  add_value(&p3, "[s_ang4]", (int *)&servo_angle4, 20, NULL);
  add_value(&p3, "[s_ang5]", (int *)&servo_angle5, 20, NULL);
  add_value(&p3, "[s_ang6]", (int *)&servo_angle6, 20, NULL);
  add_value(&p3, "[s_ang7]", (int *)&servo_angle7, 20, NULL);
  add_value(&p3, "[s_ang8]", (int *)&servo_angle8, 20, NULL);
  add_value_float(&p3, "[test3]", &test3, 0.3, NULL);

	MenuInit(&p0);
}

/* USER CODE END 4 */

void Error_Handler(void)
{
  __disable_irq();
  while (1)
  {
  }
}
